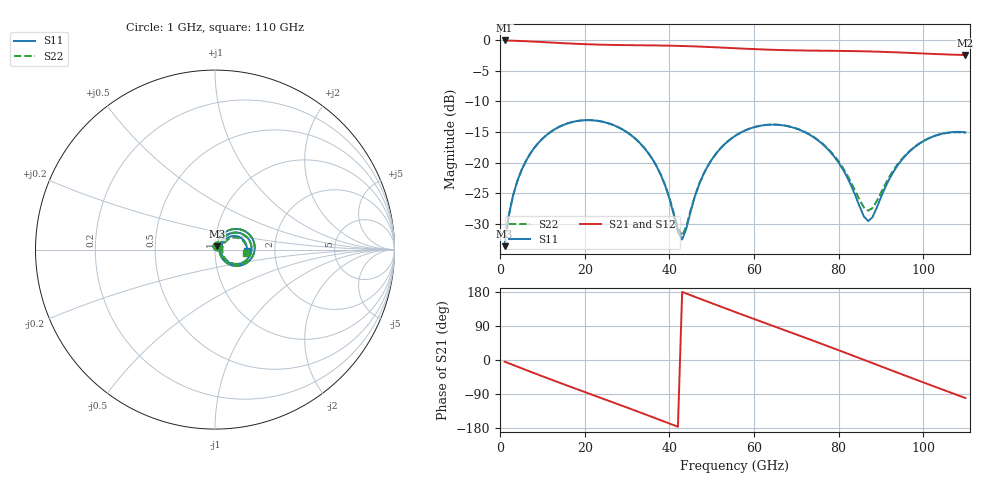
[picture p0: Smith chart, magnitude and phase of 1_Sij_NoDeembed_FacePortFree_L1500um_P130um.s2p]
! Touchstone file exported from HFSS 2024.2.0
!  File:  C:/Users/vaintrug/Documents/Ansoft_Workspace/Comparaison_Calculs_HFSS/1_VarPort.aedt
!  Generated:  03:22:16 PM Jan 21, 2025
!  Design:  1_NoDeembed_FacePortFree
!  Project:  1_VarPort
!  Setup:  Setup1
!  Solution:  Sweep
! Variables:
!  $Lenght = 1500um
!  $PortSize = 130um
!  Gap = 30um
!  Th = 2um
!  X_centralStrip = 20um
!  X_masse = 200um
!  Y_Sub = 1.5mm
!  Z_Box = 400um
!  Z_Sub = 200um
# GHz S MA R 50.000000
! Terminal data exported
! Port[1] = 1
! Port[2] = 2
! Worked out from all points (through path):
!   110 points, 1 GHz to 110 GHz, reference 50 ohm
!   highest |S21| = -0.10 dB at 1 GHz (marker M1); lowest = -2.5 dB at 110 GHz (marker M2)
!   group delay of S21, straight-line fit = 11.6 ps
!   lowest |S11| = -33.6 dB at 1 GHz (marker M3), VSWR 1.04, Z = 50.9 + j1.89 ohm
!   |S11| at or under -10 dB: start of sweep to end of sweep
!   |S22| runs from -33.6 to -13.1 dB; largest |S21 - S12| = 1.5e-14
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1  0.02084 62.6  0.9891 -4.4  0.9891 -4.4  0.02084 62.6
! Gamma 5.76530516121422 49.8800472719599 5.80142210375396 49.9466558557977
! Port Impedance 50 0 50 0
2  0.0372 69.6  0.9865 -8.8  0.9865 -8.8  0.0372 69.6
3  0.05393 69.9  0.984 -13.1  0.984 -13.1  0.05393 69.9
7  0.1173 58.4  0.9713 -30.4  0.9713 -30.4  0.1173 58.4
14  0.1963 31.2  0.9433 -60.0  0.9433 -60.0  0.1963 31.3
20  0.2215 7.9  0.9228 -84.7  0.9228 -84.7  0.2216 8.1
24  0.2159 -7.2  0.9135 -101.0  0.9135 -101.0  0.2159 -7.0
29  0.1852 -25.6  0.9067 -121.6  0.9067 -121.6  0.1853 -25.2
34  0.1321 -42.3  0.9028 -142.3  0.9028 -142.3  0.1324 -41.7
38  0.07856 -51.0  0.8992 -159.2  0.8992 -159.2  0.07913 -49.9
43  0.02363 5.0  0.8914 179.6  0.8914 179.6  0.02538 4.5
46  0.05273 52.9  0.8845 166.8  0.8845 166.8  0.05342 51.2
49  0.09294 52.9  0.876 154.1  0.876 154.1  0.09325 51.9
56  0.169 32.6  0.8532 124.8  0.8532 124.8  0.169 32.2
65  0.2038 1.4  0.8289 87.8  0.8289 87.8  0.204 1.4
74  0.1618 -28.7  0.8175 50.9  0.8175 50.9  0.1627 -27.8
80  0.1 -43.6  0.8133 25.8  0.8133 25.8  0.1023 -41.4
87  0.03336 -1.1  0.8052 -3.9  0.8052 -3.9  0.04056 -2.6
92  0.07341 44.1  0.7952 -25.1  0.7952 -25.1  0.07643 37.5
96  0.1156 39.5  0.7851 -42.1  0.7851 -42.1  0.1169 34.4
101  0.1557 25.9  0.7718 -63.1  0.7718 -63.1  0.1558 21.6
110  0.1764 -2.2  0.7523 -100.4  0.7523 -100.4  0.1749 -6.5
